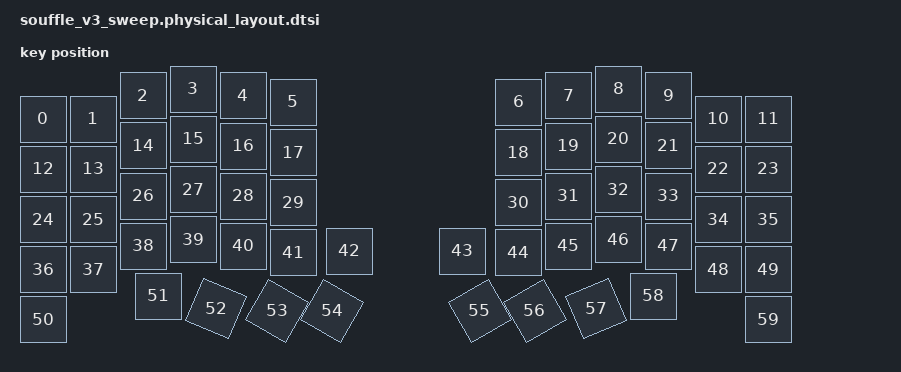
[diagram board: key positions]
/*
 * Copyright (c) 2025 The ZMK Contributors
 * SPDX-License-Identifier: MIT
 *
 * Physical layout for Soufflé V3 Sweep
 * 6x5 column-staggered split keyboard (60 keys total including 2 encoder buttons)
 */

/ {
    souffle_v3_sweep_layout: souffle_v3_sweep_layout {
        compatible = "zmk,physical-layout";
        display-name = "Default Layout";
        transform = <&default_transform>;
        kscan = <&kscan0>;

        keys  //  w   h    x    y     rot    rx    ry
            // Row 0 - top number row
            = <&key_physical_attrs 100 100    0   60       0     0     0>  // GRAVE
            , <&key_physical_attrs 100 100  100   60       0     0     0>  // 1
            , <&key_physical_attrs 100 100  200   13       0     0     0>  // 2
            , <&key_physical_attrs 100 100  300    0       0     0     0>  // 3
            , <&key_physical_attrs 100 100  400   13       0     0     0>  // 4
            , <&key_physical_attrs 100 100  500   26       0     0     0>  // 5
            , <&key_physical_attrs 100 100  951   26       0     0     0>  // 6
            , <&key_physical_attrs 100 100 1051   13       0     0     0>  // 7
            , <&key_physical_attrs 100 100 1151    0       0     0     0>  // 8
            , <&key_physical_attrs 100 100 1251   13       0     0     0>  // 9
            , <&key_physical_attrs 100 100 1351   60       0     0     0>  // 0
            , <&key_physical_attrs 100 100 1451   60       0     0     0>  // MINUS
            // Row 1 - QWERTY row
            , <&key_physical_attrs 100 100    0  160       0     0     0>  // TAB
            , <&key_physical_attrs 100 100  100  160       0     0     0>  // Q
            , <&key_physical_attrs 100 100  200  113       0     0     0>  // W
            , <&key_physical_attrs 100 100  300  100       0     0     0>  // E
            , <&key_physical_attrs 100 100  400  114       0     0     0>  // R
            , <&key_physical_attrs 100 100  500  127       0     0     0>  // T
            , <&key_physical_attrs 100 100  951  127       0     0     0>  // Y
            , <&key_physical_attrs 100 100 1051  114       0     0     0>  // U
            , <&key_physical_attrs 100 100 1151  100       0     0     0>  // I
            , <&key_physical_attrs 100 100 1251  113       0     0     0>  // O
            , <&key_physical_attrs 100 100 1351  160       0     0     0>  // P
            , <&key_physical_attrs 100 100 1451  160       0     0     0>  // BSLH
            // Row 2 - home row
            , <&key_physical_attrs 100 100    0  261       0     0     0>  // LCTRL
            , <&key_physical_attrs 100 100  100  261       0     0     0>  // A
            , <&key_physical_attrs 100 100  200  214       0     0     0>  // S
            , <&key_physical_attrs 100 100  300  201       0     0     0>  // D
            , <&key_physical_attrs 100 100  400  214       0     0     0>  // F
            , <&key_physical_attrs 100 100  500  227       0     0     0>  // G
            , <&key_physical_attrs 100 100  951  227       0     0     0>  // H
            , <&key_physical_attrs 100 100 1051  214       0     0     0>  // J
            , <&key_physical_attrs 100 100 1151  201       0     0     0>  // K
            , <&key_physical_attrs 100 100 1251  214       0     0     0>  // L
            , <&key_physical_attrs 100 100 1351  261       0     0     0>  // SEMI
            , <&key_physical_attrs 100 100 1451  261       0     0     0>  // SQT
            // Row 3 - bottom letter row WITH encoder buttons in the middle (matching keymap order)
            , <&key_physical_attrs 100 100    0  361       0     0     0>  // LSHFT
            , <&key_physical_attrs 100 100  100  361       0     0     0>  // Z
            , <&key_physical_attrs 100 100  200  314       0     0     0>  // X
            , <&key_physical_attrs 100 100  300  301       0     0     0>  // C
            , <&key_physical_attrs 100 100  400  314       0     0     0>  // V
            , <&key_physical_attrs 100 100  500  327       0     0     0>  // B
            , <&key_physical_attrs 100 100  612  324       0     0     0>  // Left encoder
            , <&key_physical_attrs 100 100  839  324       0     0     0>  // Right encoder
            , <&key_physical_attrs 100 100  951  327       0     0     0>  // N
            , <&key_physical_attrs 100 100 1051  314       0     0     0>  // M
            , <&key_physical_attrs 100 100 1151  301       0     0     0>  // COMMA
            , <&key_physical_attrs 100 100 1251  314       0     0     0>  // DOT
            , <&key_physical_attrs 100 100 1351  361       0     0     0>  // FSLH
            , <&key_physical_attrs 100 100 1451  361       0     0     0>  // RSHFT
            // Row 4 - thumb clusters (10 keys, no encoders)
            , <&key_physical_attrs 100 100    0  461       0     0     0>  // LALT (palm key left)
            , <&key_physical_attrs 100 100  230  414       0     0     0>  // LGUI
            , <&key_physical_attrs 100 100  346  439    2300   396   489>  // mo 1
            , <&key_physical_attrs 100 100  456  440    3000   506   515>  // SPACE left
            , <&key_physical_attrs 100 100  566  440    3000   616   515>  // BSPC
            , <&key_physical_attrs 100 100  886  440  (-3000)  936   515>  // ENTER
            , <&key_physical_attrs 100 100  996  440  (-3000) 1046   515>  // SPACE right
            , <&key_physical_attrs 100 100 1106  439  (-2300) 1156   489>  // mo 2
            , <&key_physical_attrs 100 100 1221  414       0     0     0>  // RGUI
            , <&key_physical_attrs 100 100 1451  461       0     0     0>  // RALT (palm key right)
            ;
    };
};
